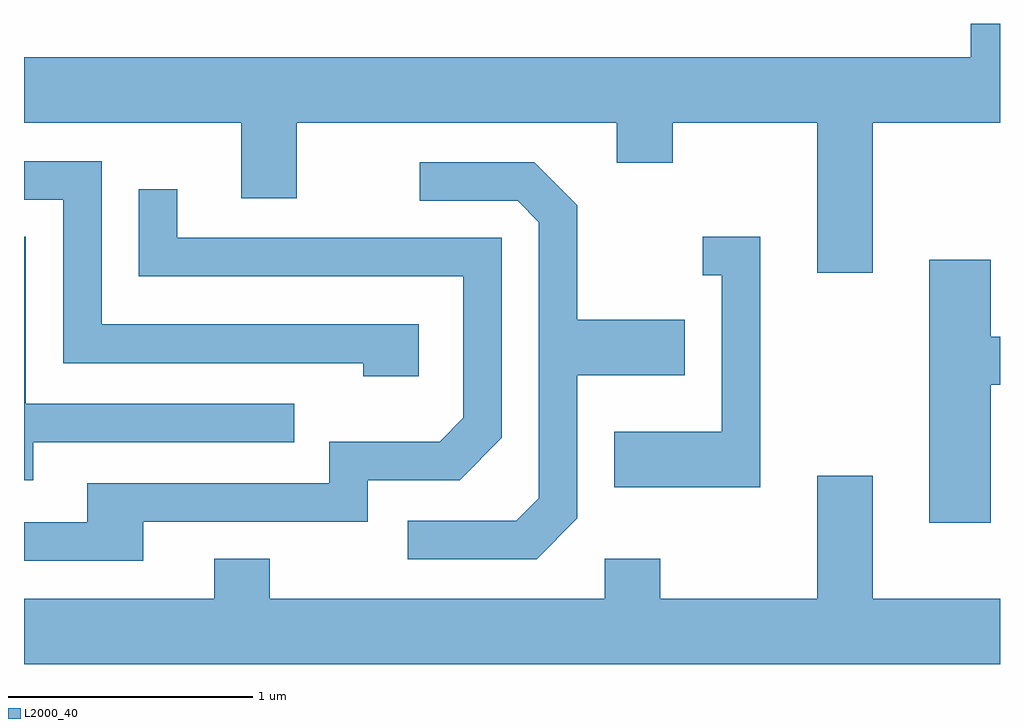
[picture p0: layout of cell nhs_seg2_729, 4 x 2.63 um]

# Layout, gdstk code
import gdstk
lib = gdstk.Library(unit=1e-6, precision=1e-09)
def P(c, l, *ps):  # polygons
    for p in ps: c.add(gdstk.Polygon(p, *l))
L2000_40 = (2000, 40)

nhs_seg2_729 = lib.new_cell('nhs_seg2_729')
P(nhs_seg2_729, L2000_40, [(209.089,1079.396),(209.611,1079.396),(209.611,1079.802),(209.491,1079.802),(209.491,1079.664),(205.611,1079.664),(205.611,1079.396),(206.501,1079.396),(206.501,1079.086),(206.729,1079.086),(206.729,1079.396),(208.041,1079.396),(208.041,1079.231),(208.269,1079.231),(208.269,1079.396),(208.861,1079.396),(208.861,1078.781),(209.089,1078.781)],
  [(207.229,1078.569),(205.929,1078.569),(205.929,1079.239),(205.611,1079.239),(205.611,1079.081),(205.771,1079.081),(205.771,1078.411),(207.001,1078.411),(207.001,1078.356),(207.229,1078.356)],
  [(207.879,1077.774),(207.879,1078.361),(208.319,1078.361),(208.319,1078.589),(207.879,1078.589),(207.879,1079.057),(207.702,1079.234),(207.233,1079.234),(207.233,1079.076),(207.634,1079.076),(207.721,1078.989),(207.721,1077.857),(207.629,1077.764),(207.183,1077.764),(207.183,1077.606),(207.712,1077.606)],
  [(206.099,1077.761),(207.019,1077.761),(207.019,1077.931),(207.397,1077.931),(207.569,1078.104),(207.569,1078.924),(206.239,1078.924),(206.239,1079.123),(206.081,1079.123),(206.081,1078.766),(207.411,1078.766),(207.411,1078.187),(207.314,1078.089),(206.861,1078.089),(206.861,1077.919),(205.871,1077.919),(205.871,1077.759),(205.611,1077.759),(205.611,1077.601),(206.099,1077.601)],
  [(205.649,1078.086),(206.718,1078.086),(206.718,1078.244),(205.619,1078.244),(205.619,1078.929),(205.611,1078.929),(205.611,1077.931),(205.649,1077.931)],
  [(208.629,1078.929),(208.393,1078.929),(208.393,1078.771),(208.471,1078.771),(208.471,1078.129),(208.031,1078.129),(208.031,1077.901),(208.629,1077.901)],
  [(209.574,1078.321),(209.611,1078.321),(209.611,1078.519),(209.574,1078.519),(209.574,1078.834),(209.321,1078.834),(209.321,1077.756),(209.574,1077.756)],
  [(209.611,1077.444),(209.089,1077.444),(209.089,1077.949),(208.861,1077.949),(208.861,1077.444),(208.219,1077.444),(208.219,1077.609),(207.991,1077.609),(207.991,1077.444),(206.619,1077.444),(206.619,1077.609),(206.391,1077.609),(206.391,1077.444),(205.611,1077.444),(205.611,1077.176),(209.611,1077.176)])

lib.write_gds('nhs_seg2_729.gds')
